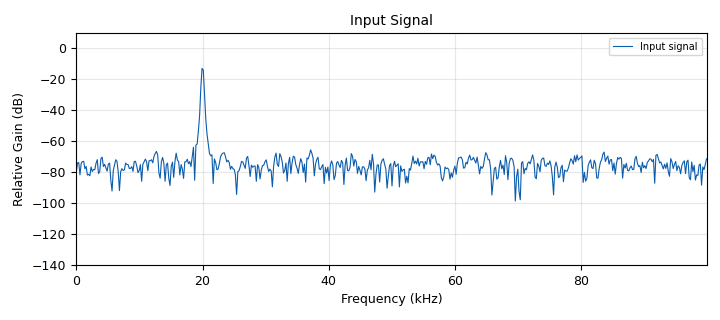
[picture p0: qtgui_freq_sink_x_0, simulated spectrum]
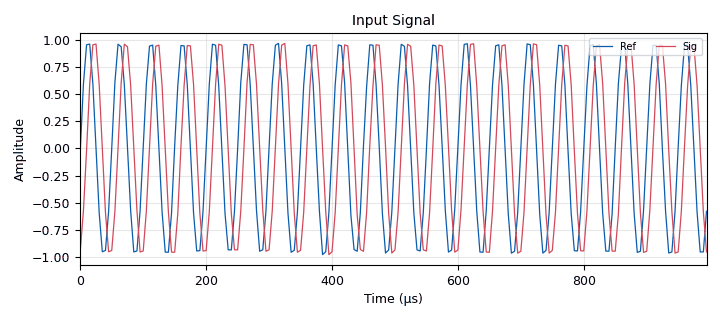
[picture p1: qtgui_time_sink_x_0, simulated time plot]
<?xml version='1.0' encoding='utf-8'?>
<?grc format='1' created='3.7.11'?>
<flow_graph>
<block>
<key>options</key>
<param><key>id</key><value>B5_rf_amplitude_phase_frequency_tracking</value></param>
<param><key>description</key><value>algorithm id:  0: FIR-LP, 1: FIR-BP, 2: FIR-CUSTOM, 3: FIR-CUSTOM_FFT, 4: IIR_LP, 5: IIR_HP, 6: IIR-CUSTOM</value></param>
<param><key>generate_options</key><value>qt_gui</value></param>
<param><key>title</key><value>B5 RF-Amplitude, Phase and Frequency Detection</value></param>
</block>
<block>
<key>variable</key>
<param><key>id</key><value>TWO_PI</value></param>
<param><key>value</key><value>6.28318530718</value></param>
</block>
<block>
<key>variable</key>
<param><key>id</key><value>ampl</value></param>
<param><key>value</key><value>1</value></param>
</block>
<block>
<key>variable_qtgui_range</key>
<param><key>id</key><value>amplitude</value></param>
<param><key>value</key><value>1</value></param>
<param><key>gui_hint</key><value>1,0</value></param>
<param><key>label</key><value>RF Amplitude [Hz]</value></param>
<param><key>orient</key><value>Qt.Horizontal</value></param>
<param><key>start</key><value>0</value></param>
<param><key>step</key><value>0.1</value></param>
<param><key>stop</key><value>10</value></param>
</block>
<block>
<key>variable</key>
<param><key>id</key><value>decimation</value></param>
<param><key>value</key><value>10</value></param>
</block>
<block>
<key>variable</key>
<param><key>id</key><value>delay</value></param>
<param><key>value</key><value>(int)(samp_rate/freq*phase/360)</value></param>
</block>
<block>
<key>variable</key>
<param><key>id</key><value>f_max</value></param>
<param><key>value</key><value>1000</value></param>
</block>
<block>
<key>variable</key>
<param><key>id</key><value>f_trans</value></param>
<param><key>value</key><value>200</value></param>
</block>
<block>
<key>variable_qtgui_range</key>
<param><key>id</key><value>freq</value></param>
<param><key>value</key><value>20000</value></param>
<param><key>gui_hint</key><value>0,0</value></param>
<param><key>label</key><value>RF Frequency [Hz]</value></param>
<param><key>orient</key><value>Qt.Horizontal</value></param>
<param><key>start</key><value>0</value></param>
<param><key>step</key><value>1e3</value></param>
<param><key>stop</key><value>samp_rate/2</value></param>
</block>
<block>
<key>variable_qtgui_range</key>
<param><key>id</key><value>offset</value></param>
<param><key>value</key><value>0</value></param>
<param><key>gui_hint</key><value>0,1</value></param>
<param><key>label</key><value>RF Signal Offset</value></param>
<param><key>orient</key><value>Qt.Horizontal</value></param>
<param><key>start</key><value>0</value></param>
<param><key>step</key><value>0.01</value></param>
<param><key>stop</key><value>10</value></param>
</block>
<block>
<key>variable_qtgui_range</key>
<param><key>id</key><value>phase</value></param>
<param><key>value</key><value>90</value></param>
<param><key>gui_hint</key><value>1,1</value></param>
<param><key>label</key><value>RF Phase [Hz]</value></param>
<param><key>orient</key><value>Qt.Horizontal</value></param>
<param><key>start</key><value>0</value></param>
<param><key>step</key><value>0.1</value></param>
<param><key>stop</key><value>360</value></param>
</block>
<block>
<key>variable</key>
<param><key>id</key><value>samp_rate</value></param>
<param><key>value</key><value>200000</value></param>
</block>
<block>
<key>variable</key>
<param><key>id</key><value>samples</value></param>
<param><key>value</key><value>1000</value></param>
</block>
<block>
<key>ampl_phase_detector</key>
<param><key>id</key><value>ampl_phase_detector_0</value></param>
<param><key>algorithm_id</key><value>0</value></param>
<param><key>decimation</key><value>decimation</value></param>
<param><key>fir_taps_user</key><value>0</value></param>
<param><key>iir_feedback_Taps</key><value>()</value></param>
<param><key>iir_forward_Taps</key><value>()</value></param>
<param><key>freq_min</key><value>0</value></param>
<param><key>hilbert_taps</key><value>64</value></param>
<param><key>samp_rate</key><value>samp_rate</value></param>
<param><key>freq_transition</key><value>f_trans</value></param>
<param><key>freq_max</key><value>f_max</value></param>
</block>
<block>
<key>analog_const_source_x</key>
<param><key>id</key><value>analog_const_source_x_0</value></param>
<param><key>const</key><value>offset</value></param>
<param><key>type</key><value>float</value></param>
</block>
<block>
<key>analog_noise_source_x</key>
<param><key>id</key><value>analog_noise_source_x_0_0_0</value></param>
<param><key>amp</key><value>1e-2</value></param>
<param><key>noise_type</key><value>analog.GR_GAUSSIAN</value></param>
<param><key>type</key><value>float</value></param>
<param><key>seed</key><value>0</value></param>
</block>
<block>
<key>analog_sig_source_x</key>
<param><key>id</key><value>analog_sig_source_x_0_0_0</value></param>
<param><key>amp</key><value>1</value></param>
<param><key>_enabled</key><value>0</value></param>
<param><key>freq</key><value>1</value></param>
<param><key>offset</key><value>0.01</value></param>
<param><key>type</key><value>float</value></param>
<param><key>samp_rate</key><value>samp_rate</value></param>
<param><key>waveform</key><value>analog.GR_SAW_WAVE</value></param>
</block>
<block>
<key>analog_sig_source_x</key>
<param><key>id</key><value>analog_sig_source_x_0_0_0_1</value></param>
<param><key>amp</key><value>ampl</value></param>
<param><key>freq</key><value>freq</value></param>
<param><key>offset</key><value>0</value></param>
<param><key>type</key><value>float</value></param>
<param><key>samp_rate</key><value>samp_rate</value></param>
<param><key>waveform</key><value>analog.GR_SIN_WAVE</value></param>
</block>
<block>
<key>blocks_add_xx</key>
<param><key>id</key><value>blocks_add_xx_0_0</value></param>
<param><key>type</key><value>float</value></param>
<param><key>num_inputs</key><value>3</value></param>
</block>
<block>
<key>blocks_delay</key>
<param><key>id</key><value>blocks_delay_0</value></param>
<param><key>delay</key><value>delay</value></param>
<param><key>type</key><value>float</value></param>
</block>
<block>
<key>blocks_keep_one_in_n</key>
<param><key>id</key><value>blocks_keep_one_in_n_0</value></param>
<param><key>n</key><value>decimation</value></param>
<param><key>type</key><value>float</value></param>
</block>
<block>
<key>blocks_multiply_const_vxx</key>
<param><key>id</key><value>blocks_multiply_const_vxx_0</value></param>
<param><key>const</key><value>amplitude</value></param>
<param><key>type</key><value>float</value></param>
</block>
<block>
<key>blocks_multiply_const_vxx</key>
<param><key>id</key><value>blocks_multiply_const_vxx_0_0</value></param>
<param><key>const</key><value>1</value></param>
<param><key>type</key><value>float</value></param>
</block>
<block>
<key>blocks_throttle</key>
<param><key>id</key><value>blocks_throttle_1</value></param>
<param><key>samples_per_second</key><value>samp_rate</value></param>
<param><key>type</key><value>float</value></param>
</block>
<block>
<key>blocks_vco_f</key>
<param><key>id</key><value>blocks_vco_f_0</value></param>
<param><key>amplitude</key><value>1.0</value></param>
<param><key>_enabled</key><value>0</value></param>
<param><key>samp_rate</key><value>samp_rate</value></param>
<param><key>sensitivity</key><value>0.5*samp_rate</value></param>
</block>
<block>
<key>digitizers_block_amplitude_and_phase</key>
<param><key>id</key><value>digitizers_block_amplitude_and_phase_0</value></param>
<param><key>cutoff</key><value>f_max</value></param>
<param><key>decim</key><value>decimation</value></param>
<param><key>delay</key><value>0</value></param>
<param><key>gain</key><value>2</value></param>
<param><key>hil_win</key><value>64</value></param>
<param><key>samp_rate</key><value>samp_rate</value></param>
<param><key>tr_width</key><value>f_trans</value></param>
</block>
<block>
<key>digitizers_block_complex_to_mag_deg</key>
<param><key>id</key><value>digitizers_block_complex_to_mag_deg_0</value></param>
<param><key>vec_size</key><value>1</value></param>
</block>
<block>
<key>digitizers_freq_estimator</key>
<param><key>id</key><value>digitizers_freq_estimator_0</value></param>
<param><key>decim</key><value>1</value></param>
<param><key>freq_window_size</key><value>10</value></param>
<param><key>samp_rate</key><value>samp_rate</value></param>
<param><key>sig_window_size</key><value>1</value></param>
</block>
<block>
<key>frequencyCounter_frequency_counter_ff</key>
<param><key>id</key><value>frequencyCounter_frequency_counter_ff_0</value></param>
<param><key>hi</key><value>+0.1</value></param>
<param><key>lo</key><value>-0.1</value></param>
<param><key>ncycles</key><value>10</value></param>
<param><key>sampling</key><value>samp_rate</value></param>
</block>
<block>
<key>qtgui_freq_sink_x</key>
<param><key>id</key><value>qtgui_freq_sink_x_0</value></param>
<param><key>bw</key><value>samp_rate</value></param>
<param><key>fc</key><value>0</value></param>
<param><key>fftsize</key><value>1024</value></param>
<param><key>gui_hint</key><value>2,3</value></param>
<param><key>label1</key><value>Input signal</value></param>
<param><key>name</key><value>Input Signal</value></param>
<param><key>showports</key><value>True</value></param>
<param><key>freqhalf</key><value>False</value></param>
<param><key>type</key><value>float</value></param>
<param><key>wintype</key><value>firdes.WIN_HANN</value></param>
</block>
<block>
<key>qtgui_time_sink_x</key>
<param><key>id</key><value>qtgui_time_sink_x_0</value></param>
<param><key>autoscale</key><value>True</value></param>
<param><key>gui_hint</key><value>3,3</value></param>
<param><key>color1</key><value>"blue"</value></param>
<param><key>label1</key><value>Ref</value></param>
<param><key>color2</key><value>"red"</value></param>
<param><key>label2</key><value>Sig</value></param>
<param><key>name</key><value>Input Signal</value></param>
<param><key>nconnections</key><value>2</value></param>
<param><key>size</key><value>200</value></param>
<param><key>srate</key><value>samp_rate</value></param>
<param><key>tr_tag</key><value>acq_info</value></param>
<param><key>type</key><value>float</value></param>
<param><key>update_time</key><value>0.1</value></param>
<param><key>yunit</key><value>[a.u.]</value></param>
<param><key>ymax</key><value>+1.1</value></param>
<param><key>ymin</key><value>-1.1</value></param>
</block>
<block>
<key>qtgui_time_sink_x</key>
<param><key>id</key><value>qtgui_time_sink_x_2</value></param>
<param><key>autoscale</key><value>True</value></param>
<param><key>entags</key><value>False</value></param>
<param><key>gui_hint</key><value>2,0,1,2</value></param>
<param><key>grid</key><value>True</value></param>
<param><key>color1</key><value>"blue"</value></param>
<param><key>label1</key><value>Freq (ref)</value></param>
<param><key>color2</key><value>"red"</value></param>
<param><key>label2</key><value>Freq (test)</value></param>
<param><key>name</key><value>Reconstructed Frequency</value></param>
<param><key>nconnections</key><value>2</value></param>
<param><key>size</key><value>samples</value></param>
<param><key>srate</key><value>samp_rate/decimation</value></param>
<param><key>type</key><value>float</value></param>
<param><key>update_time</key><value>1</value></param>
<param><key>ylabel</key><value>Frequency</value></param>
<param><key>ymax</key><value>+20200</value></param>
<param><key>ymin</key><value>19800</value></param>
</block>
<block>
<key>qtgui_time_sink_x</key>
<param><key>id</key><value>qtgui_time_sink_x_2_0</value></param>
<param><key>autoscale</key><value>True</value></param>
<param><key>entags</key><value>False</value></param>
<param><key>gui_hint</key><value>3,0</value></param>
<param><key>grid</key><value>True</value></param>
<param><key>color1</key><value>"blue"</value></param>
<param><key>label1</key><value>Mag (ref)</value></param>
<param><key>color2</key><value>"red"</value></param>
<param><key>label2</key><value>Mag (test)</value></param>
<param><key>style2</key><value>2</value></param>
<param><key>name</key><value>Reconstructed Amplitude</value></param>
<param><key>nconnections</key><value>2</value></param>
<param><key>size</key><value>samples</value></param>
<param><key>srate</key><value>samp_rate/decimation</value></param>
<param><key>type</key><value>float</value></param>
<param><key>update_time</key><value>1</value></param>
</block>
<block>
<key>qtgui_time_sink_x</key>
<param><key>id</key><value>qtgui_time_sink_x_2_0_0</value></param>
<param><key>autoscale</key><value>True</value></param>
<param><key>entags</key><value>False</value></param>
<param><key>gui_hint</key><value>3,1</value></param>
<param><key>grid</key><value>True</value></param>
<param><key>color1</key><value>"blue"</value></param>
<param><key>label1</key><value>Phase (ref)</value></param>
<param><key>color2</key><value>"red"</value></param>
<param><key>label2</key><value>Phase (test)</value></param>
<param><key>style2</key><value>2</value></param>
<param><key>name</key><value>Reconstructed Phase</value></param>
<param><key>nconnections</key><value>2</value></param>
<param><key>size</key><value>samples</value></param>
<param><key>srate</key><value>samp_rate/decimation</value></param>
<param><key>type</key><value>float</value></param>
<param><key>update_time</key><value>1</value></param>
<param><key>ylabel</key><value>Phase [deg]</value></param>
</block>
<connection><source_block_id>ampl_phase_detector_0</source_block_id><sink_block_id>qtgui_time_sink_x_2_0</sink_block_id><source_key>0</source_key><sink_key>0</sink_key></connection>
<connection><source_block_id>ampl_phase_detector_0</source_block_id><sink_block_id>qtgui_time_sink_x_2_0_0</sink_block_id><source_key>1</source_key><sink_key>0</sink_key></connection>
<connection><source_block_id>analog_const_source_x_0</source_block_id><sink_block_id>blocks_add_xx_0_0</sink_block_id><source_key>0</source_key><sink_key>2</sink_key></connection>
<connection><source_block_id>analog_noise_source_x_0_0_0</source_block_id><sink_block_id>blocks_add_xx_0_0</sink_block_id><source_key>0</source_key><sink_key>0</sink_key></connection>
<connection><source_block_id>analog_sig_source_x_0_0_0</source_block_id><sink_block_id>blocks_vco_f_0</sink_block_id><source_key>0</source_key><sink_key>0</sink_key></connection>
<connection><source_block_id>analog_sig_source_x_0_0_0_1</source_block_id><sink_block_id>blocks_add_xx_0_0</sink_block_id><source_key>0</source_key><sink_key>1</sink_key></connection>
<connection><source_block_id>blocks_add_xx_0_0</source_block_id><sink_block_id>ampl_phase_detector_0</sink_block_id><source_key>0</source_key><sink_key>1</sink_key></connection>
<connection><source_block_id>blocks_add_xx_0_0</source_block_id><sink_block_id>blocks_multiply_const_vxx_0</sink_block_id><source_key>0</source_key><sink_key>0</sink_key></connection>
<connection><source_block_id>blocks_add_xx_0_0</source_block_id><sink_block_id>blocks_multiply_const_vxx_0_0</sink_block_id><source_key>0</source_key><sink_key>0</sink_key></connection>
<connection><source_block_id>blocks_add_xx_0_0</source_block_id><sink_block_id>digitizers_block_amplitude_and_phase_0</sink_block_id><source_key>0</source_key><sink_key>1</sink_key></connection>
<connection><source_block_id>blocks_add_xx_0_0</source_block_id><sink_block_id>digitizers_freq_estimator_0</sink_block_id><source_key>0</source_key><sink_key>0</sink_key></connection>
<connection><source_block_id>blocks_add_xx_0_0</source_block_id><sink_block_id>frequencyCounter_frequency_counter_ff_0</sink_block_id><source_key>0</source_key><sink_key>0</sink_key></connection>
<connection><source_block_id>blocks_delay_0</source_block_id><sink_block_id>ampl_phase_detector_0</sink_block_id><source_key>0</source_key><sink_key>0</sink_key></connection>
<connection><source_block_id>blocks_delay_0</source_block_id><sink_block_id>blocks_throttle_1</sink_block_id><source_key>0</source_key><sink_key>0</sink_key></connection>
<connection><source_block_id>blocks_delay_0</source_block_id><sink_block_id>digitizers_block_amplitude_and_phase_0</sink_block_id><source_key>0</source_key><sink_key>0</sink_key></connection>
<connection><source_block_id>blocks_keep_one_in_n_0</source_block_id><sink_block_id>qtgui_time_sink_x_2</sink_block_id><source_key>0</source_key><sink_key>0</sink_key></connection>
<connection><source_block_id>blocks_multiply_const_vxx_0</source_block_id><sink_block_id>blocks_delay_0</sink_block_id><source_key>0</source_key><sink_key>0</sink_key></connection>
<connection><source_block_id>blocks_multiply_const_vxx_0_0</source_block_id><sink_block_id>qtgui_time_sink_x_0</sink_block_id><source_key>0</source_key><sink_key>0</sink_key></connection>
<connection><source_block_id>blocks_throttle_1</source_block_id><sink_block_id>qtgui_freq_sink_x_0</sink_block_id><source_key>0</source_key><sink_key>0</sink_key></connection>
<connection><source_block_id>blocks_throttle_1</source_block_id><sink_block_id>qtgui_time_sink_x_0</sink_block_id><source_key>0</source_key><sink_key>1</sink_key></connection>
<connection><source_block_id>blocks_vco_f_0</source_block_id><sink_block_id>blocks_add_xx_0_0</sink_block_id><source_key>0</source_key><sink_key>1</sink_key></connection>
<connection><source_block_id>digitizers_block_amplitude_and_phase_0</source_block_id><sink_block_id>digitizers_block_complex_to_mag_deg_0</sink_block_id><source_key>0</source_key><sink_key>0</sink_key></connection>
<connection><source_block_id>digitizers_block_complex_to_mag_deg_0</source_block_id><sink_block_id>qtgui_time_sink_x_2_0</sink_block_id><source_key>0</source_key><sink_key>1</sink_key></connection>
<connection><source_block_id>digitizers_block_complex_to_mag_deg_0</source_block_id><sink_block_id>qtgui_time_sink_x_2_0_0</sink_block_id><source_key>1</source_key><sink_key>1</sink_key></connection>
<connection><source_block_id>digitizers_freq_estimator_0</source_block_id><sink_block_id>qtgui_time_sink_x_2</sink_block_id><source_key>0</source_key><sink_key>1</sink_key></connection>
<connection><source_block_id>frequencyCounter_frequency_counter_ff_0</source_block_id><sink_block_id>blocks_keep_one_in_n_0</sink_block_id><source_key>0</source_key><sink_key>0</sink_key></connection>
</flow_graph>
